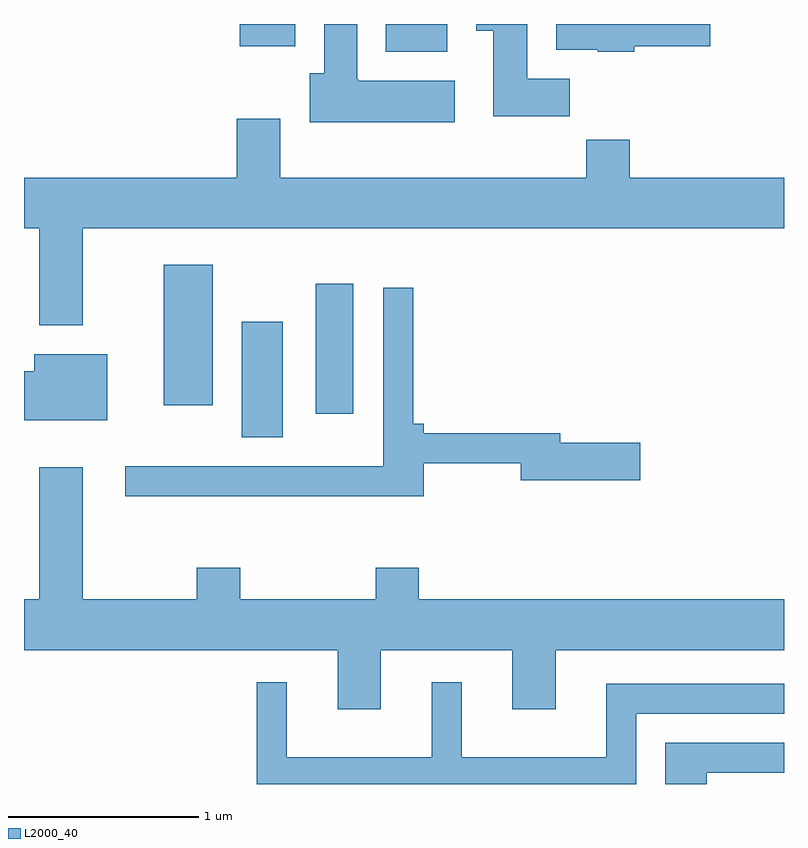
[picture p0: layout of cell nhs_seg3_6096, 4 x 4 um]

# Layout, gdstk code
import gdstk
lib = gdstk.Library(unit=1e-6, precision=1e-09)
def R(c, l, rs):  # rectangles x0, y0, x1, y1
    for r in rs: c.add(gdstk.rectangle(r[:2], r[2:], *l))
def P(c, l, *ps):  # polygons
    for p in ps: c.add(gdstk.Polygon(p, *l))
L2000_40 = (2000, 40)

nhs_seg3_6096 = lib.new_cell('nhs_seg3_6096')
R(nhs_seg3_6096, L2000_40, [(364.756,1213.716,364.974,1214.324), (365.146,1213.841,365.344,1214.524), (364.346,1213.886,364.604,1214.624), (365.516,1215.746,365.839,1215.892), (364.746,1215.776,365.039,1215.892)])
P(nhs_seg3_6096, L2000_40, [(366.484,1215.604),(366.259,1215.604),(366.259,1215.892),(365.991,1215.892),(365.991,1215.856),(366.081,1215.856),(366.081,1215.406),(366.484,1215.406)],
  [(365.879,1215.594),(365.37,1215.594),(365.37,1215.6),(365.364,1215.6),(365.364,1215.892),(365.191,1215.892),(365.191,1215.634),(365.116,1215.634),(365.116,1215.376),(365.879,1215.376)],
  [(366.824,1215.776),(367.224,1215.776),(367.224,1215.892),(366.411,1215.892),(366.411,1215.756),(366.63,1215.756),(366.63,1215.746),(366.824,1215.746)],
  [(363.919,1214.816),(367.611,1214.816),(367.611,1215.084),(366.799,1215.084),(366.799,1215.284),(366.571,1215.284),(366.571,1215.084),(364.959,1215.084),(364.959,1215.394),(364.731,1215.394),(364.731,1215.084),(363.611,1215.084),(363.611,1214.816),(363.691,1214.816),(363.691,1214.306),(363.919,1214.306)],
  [(365.714,1213.581),(366.226,1213.581),(366.226,1213.491),(366.854,1213.491),(366.854,1213.689),(366.434,1213.689),(366.434,1213.739),(365.714,1213.739),(365.714,1213.789),(365.659,1213.789),(365.659,1214.503),(365.501,1214.503),(365.501,1213.564),(364.143,1213.564),(364.143,1213.406),(365.714,1213.406)],
  [(364.049,1214.154),(363.666,1214.154),(363.666,1214.064),(363.611,1214.064),(363.611,1213.806),(364.049,1213.806)],
  [(365.489,1212.596),(366.181,1212.596),(366.181,1212.286),(366.409,1212.286),(366.409,1212.596),(367.611,1212.596),(367.611,1212.864),(365.689,1212.864),(365.689,1213.029),(365.461,1213.029),(365.461,1212.864),(364.749,1212.864),(364.749,1213.029),(364.521,1213.029),(364.521,1212.864),(363.919,1212.864),(363.919,1213.559),(363.691,1213.559),(363.691,1212.864),(363.611,1212.864),(363.611,1212.596),(365.261,1212.596),(365.261,1212.286),(365.489,1212.286)],
  [(366.834,1212.261),(367.611,1212.261),(367.611,1212.419),(366.676,1212.419),(366.676,1212.034),(365.914,1212.034),(365.914,1212.428),(365.756,1212.428),(365.756,1212.034),(364.994,1212.034),(364.994,1212.428),(364.836,1212.428),(364.836,1211.892),(366.834,1211.892)],
  [(367.204,1211.951),(367.611,1211.951),(367.611,1212.109),(366.986,1212.109),(366.986,1211.892),(367.204,1211.892)])

lib.write_gds('nhs_seg3_6096.gds')
